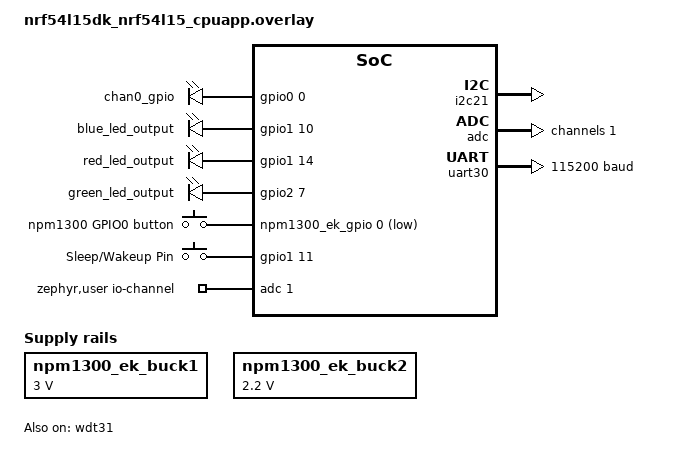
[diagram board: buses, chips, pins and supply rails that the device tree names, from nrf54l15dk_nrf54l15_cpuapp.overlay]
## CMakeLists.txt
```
# SPDX-License-Identifier: Apache-2.0

cmake_minimum_required(VERSION 3.20.0)

list(APPEND BOARD_ROOT ${CMAKE_CURRENT_SOURCE_DIR})

set(SHIELD npm1300_ek)

find_package(Zephyr REQUIRED HINTS $ENV{ZEPHYR_BASE})
project(adc_dt_1)


target_include_directories(app PRIVATE
    ${CMAKE_CURRENT_SOURCE_DIR}/src
    ${CMAKE_CURRENT_SOURCE_DIR}/src/drivers/bma580
    ${CMAKE_CURRENT_SOURCE_DIR}/src/drivers/as7058
    ${CMAKE_CURRENT_SOURCE_DIR}/src/drivers/npm1300
    ${CMAKE_CURRENT_SOURCE_DIR}/src/algo
    ${CMAKE_CURRENT_SOURCE_DIR}/src/ble

)

file(GLOB_RECURSE app_sources
    src/*.c
)

target_sources(app PRIVATE ${app_sources})


# If you also have headers:
# set_target_properties(mylib PROPERTIES INTERFACE_INCLUDE_DIRECTORIES
#     ${CMAKE_CURRENT_SOURCE_DIR}/include
# )
```

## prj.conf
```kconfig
# Needed for math.h
CONFIG_NEWLIB_LIBC=y
CONFIG_CBPRINTF_FP_SUPPORT=y
CONFIG_MULTITHREADING=y

# Enable Logging system
CONFIG_LOG=y
CONFIG_UART_CONSOLE=y
CONFIG_USE_SEGGER_RTT=y
CONFIG_RTT_CONSOLE=y
CONFIG_LOG_BACKEND_RTT=y

# Enable GPIO/PWM
CONFIG_PWM=y
CONFIG_NRFX_TIMER21=y
CONFIG_NRFX_PWM20=y
CONFIG_NRFX_PWM21=y


# Enable FPU on Cortex-M with single-precision (typical M4F/M33F)
# Enable the MCU FPU and context switching for threads that use it
CONFIG_FPU=y
CONFIG_FPU_SHARING=y          # allow any thread to use FP safely
CONFIG_FP_HARDABI=y  
# Give the system workqueue more room (our handler runs here)
CONFIG_SYSTEM_WORKQUEUE_STACK_SIZE=8196

CONFIG_ISR_STACK_SIZE=3072

# Idle stack size
CONFIG_IDLE_STACK_SIZE=512

# Enable CTS client
CONFIG_BT_CTS_CLIENT=y

#Enable BLE
CONFIG_BT=y
CONFIG_BT_PERIPHERAL=y
CONFIG_BT_DEVICE_NAME="InnerGize Gen 1"
# Enable Security Management Protocol
CONFIG_BT_SMP=y

# Enable the BMS service
CONFIG_BT_BMS=y

# Enable bonding
CONFIG_BT_SETTINGS=y
CONFIG_FLASH=y
CONFIG_FLASH_PAGE_LAYOUT=y
CONFIG_FLASH_MAP=y
CONFIG_NVS=y
CONFIG_SETTINGS_NVS=y
CONFIG_NVS_LOG_LEVEL_DBG=y
CONFIG_MPU_ALLOW_FLASH_WRITE=y

CONFIG_SETTINGS=y
CONFIG_NRFX_TEMP=y
CONFIG_MPU_ALLOW_FLASH_WRITE=y

CONFIG_BT_DIS=y

# STEP 3.1 Enable support for Accept List filter and Privacy Features
CONFIG_BT_FILTER_ACCEPT_LIST=y
CONFIG_BT_PRIVACY=y


CONFIG_BT=y
CONFIG_BT_PERIPHERAL=y
CONFIG_BT_PERIPHERAL_PREF_MIN_INT=6
CONFIG_BT_PERIPHERAL_PREF_MAX_INT=6
CONFIG_BT_PERIPHERAL_PREF_LATENCY=99
CONFIG_BT_PERIPHERAL_PREF_TIMEOUT=400
CONFIG_BT_GAP_AUTO_UPDATE_CONN_PARAMS=y
# Appear as a Generic Human Interface Device
CONFIG_BT_DEVICE_APPEARANCE=960

CONFIG_BT_ADV_PROV=y
CONFIG_BT_ADV_PROV_FLAGS=y
CONFIG_BT_ADV_PROV_TX_POWER=y
CONFIG_BT_ADV_PROV_FAST_PAIR=y

CONFIG_BT_ADV_PROV_DEVICE_NAME=y
CONFIG_BT_ADV_PROV_DEVICE_NAME_SD=y
CONFIG_BT_ADV_PROV_GAP_APPEARANCE=y
CONFIG_BT_ADV_PROV_GAP_APPEARANCE_SD=y

# Align the advertised TX power with Fast Pair expectations.
# The value has been tailored for following DKs:
#   * nrf52dk/nrf52832
#   * nrf52833dk/nrf52833
#   * nrf52840dk/nrf52840
#   * nrf5340dk/nrf5340/cpuapp(/ns)
#   * nrf54h20dk/nrf54h20/cpuapp
CONFIG_BT_ADV_PROV_TX_POWER_CORRECTION_VAL=-15

# Disable automatic initiation of PHY updates.
# Workaround to prevent disconnection with reason 42 (BT_HCI_ERR_DIFF_TRANS_COLLISION).
# Some Android phones reply to the LL_PHY_REQ and at the same time initiate a connection
# update which triggers an invalid procedure collision.
CONFIG_BT_AUTO_PHY_UPDATE=n
CONFIG_BT_USER_PHY_UPDATE=y

CONFIG_BT_ID_MAX=1
CONFIG_BT_MAX_CONN=1
CONFIG_BT_MAX_PAIRED=8

CONFIG_BT_SMP=y
CONFIG_BT_PRIVACY=y
CONFIG_BT_RPA_TIMEOUT=960
CONFIG_BT_FAST_PAIR=y
CONFIG_BT_FAST_PAIR_USE_CASE_INPUT_DEVICE=y
CONFIG_BT_FAST_PAIR_BN=y

CONFIG_LOG=y
CONFIG_BT_FAST_PAIR_LOG_LEVEL_DBG=y

CONFIG_BT_HIDS=y
CONFIG_BT_HIDS_DEFAULT_PERM_RW_ENCRYPT=y
CONFIG_BT_CONN_CTX=y

# Enable BAS to comply with HID over GATT profile
CONFIG_BT_BAS=y

CONFIG_BT_GATT_CLIENT=y




# Fill DIS characteristic to comply with HID over GATT profile
CONFIG_BT_DIS_MANUF_NAME=y
CONFIG_BT_DIS_MANUF_NAME_STR="NordicSemiconductor"
CONFIG_BT_DIS_PNP=y
CONFIG_BT_DIS_PNP_VID_SRC=2
CONFIG_BT_DIS_PNP_VID=0x1915
CONFIG_BT_DIS_PNP_PID=0xEEED

#RSSI POWER CHANGE 

CONFIG_BT_CTLR_ADVANCED_FEATURES=y
CONFIG_BT_CTLR_CONN_RSSI=y
CONFIG_BT_CTLR_TX_PWR_DYNAMIC_CONTROL=y



# to use internal 32 kHz crystal
CONFIG_CLOCK_CONTROL_NRF_K32SRC_RC=y
CONFIG_CLOCK_CONTROL_NRF_K32SRC_500PPM=y
CONFIG_CLOCK_CONTROL_NRF_K32SRC_RC_CALIBRATION=y
CONFIG_CLOCK_CONTROL_NRF_CALIBRATION_LF_ALWAYS_ON=y


# STEP 2.1 Enable support for Energy Monitoring and Power Management
CONFIG_PM_DEVICE=y
CONFIG_GPIO=y
CONFIG_CRC=y
CONFIG_POWEROFF=y
CONFIG_HWINFO=y

#ADC 
CONFIG_ADC=y
CONFIG_NRFX_SAADC=y

# Enable the WDT module
CONFIG_WDT_LOG_LEVEL_DBG=y
CONFIG_WATCHDOG=y
CONFIG_WDT_DISABLE_AT_BOOT=n

CONFIG_BT_CTLR_TX_PWR_PLUS_8=y




# Enable MCUmgr and dependencies.

CONFIG_STREAM_FLASH=y
CONFIG_FLASH_MAP=y

# Some command handlers require a large stack.
CONFIG_SYSTEM_WORKQUEUE_STACK_SIZE=2304
CONFIG_MAIN_STACK_SIZE=2048
CONFIG_BT_RX_STACK_SIZE=2048




# Required by the `taskstat` command.
CONFIG_THREAD_MONITOR=y

# Support for taskstat command



# Enable statistics and statistic names.
CONFIG_STATS=y
CONFIG_STATS_NAMES=y

# Enable most core commands.
CONFIG_FLASH=y




# Allow for large Bluetooth data packets.
CONFIG_BT_USER_DATA_LEN_UPDATE=y
CONFIG_BT_L2CAP_TX_MTU=498
CONFIG_BT_BUF_ACL_RX_SIZE=502
CONFIG_BT_BUF_ACL_TX_SIZE=502
CONFIG_BT_CTLR_DATA_LENGTH_MAX=251


# Enable the Shell mcumgr transport.
CONFIG_BASE64=y
CONFIG_SHELL=y
CONFIG_SHELL_BACKEND_SERIAL=y
CONFIG_MCUMGR_TRANSPORT_SHELL=y
CONFIG_MCUMGR_TRANSPORT_SHELL_RX_BUF_COUNT=8



# Disable Bluetooth ping support
CONFIG_BT_CTLR_LE_PING=n

# Disable shell commands that are not needed
CONFIG_CLOCK_CONTROL_NRF_SHELL=n
CONFIG_DEVICE_SHELL=n
CONFIG_DEVMEM_SHELL=n
CONFIG_FLASH_SHELL=n




CONFIG_NRFX_GRTC=y



CONFIG_SHELL=y
CONFIG_LOG=y
CONFIG_LED=y
CONFIG_GPIO=y
CONFIG_REGULATOR=y
CONFIG_SENSOR=y
CONFIG_I2C_SHELL=y
CONFIG_LOG_CMDS=y
CONFIG_NRF_FUEL_GAUGE=y
CONFIG_NRF_FUEL_GAUGE_VARIANT_SECONDARY_CELL=y
CONFIG_REQUIRES_FLOAT_PRINTF=y


# Enable POSIX API support
CONFIG_POSIX_API=y

# Enable POSIX clock functions (like clock_gettime)
CONFIG_POSIX_CLOCK=y

# Enable the counter API
CONFIG_COUNTER=y

CONFIG_HEAP_MEM_POOL_SIZE=2048
```

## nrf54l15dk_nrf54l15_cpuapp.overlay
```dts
/*
 * Copyright (c) 2024 Nordic Semiconductor ASA
 *
 * SPDX-License-Identifier: LicenseRef-Nordic-5-Clause
 */

#include <dt-bindings/regulator/npm1300.h>



&i2c21 {
	status = "okay";
};


&npm1300_ek_pmic {
	host-int-gpios = <&gpio1 6 0>;
	pmic-int-pin = <1>;
};

&npm1300_ek_gpio {
	status = "okay";
};


&npm1300_ek_charger {
			compatible = "nordic,npm1300-charger";
			term-microvolt = <4200000>; 
			term-warm-microvolt = <4000000>;
			current-microamp = <150000>;
			dischg-limit-microamp = <1000000>;
			vbus-limit-microamp = <500000>;
			/* Disable battery NTC */
	        thermistor-ohms = <10000>;
			thermistor-beta = <3380>;
			charging-enable;
		};


		/* Turn ON nPM1300 BUCK1 and BUCK2 on the EK */

&npm1300_ek_buck1 {
	/* Set to your required rail; example: 1.8 V */
	regulator-min-microvolt = <3000000>;
	regulator-max-microvolt = <3000000>;

	/* Make sure it’s on at boot (and kept on) */
	regulator-boot-on;
	regulator-always-on;
	/* Enable forced PWM mode */
	regulator-allowed-modes = <NPM1300_BUCK_MODE_PWM>;
	regulator-initial-mode = <NPM1300_BUCK_MODE_PWM>;
	status = "okay";
};

&npm1300_ek_buck2 {
	/* Set to your required rail; example: 3.3 V */
	regulator-min-microvolt = <2200000>;
	regulator-max-microvolt = <2200000>;

	/* Make sure it's on at boot (and kept on) */
	regulator-boot-on;
	regulator-always-on;
	/* Enable forced PWM mode */
	regulator-allowed-modes = <NPM1300_BUCK_MODE_PWM>;
	regulator-initial-mode = <NPM1300_BUCK_MODE_PWM>;
	status = "okay";
};

/* Configure LDO1 in Load Switch mode */
&npm1300_ek_ldo1 {
	regulator-allowed-modes = <NPM1300_LDSW_MODE_LDSW>;
	regulator-initial-mode = <NPM1300_LDSW_MODE_LDSW>;
	regulator-boot-on;
	status = "okay";
};

/* Configure LDO2 in Load Switch mode */
&npm1300_ek_ldo2 {
	regulator-allowed-modes = <NPM1300_LDSW_MODE_LDSW>;
	regulator-initial-mode = <NPM1300_LDSW_MODE_LDSW>;
	regulator-boot-on;
	status = "okay";
};

/*
 * SPDX-License-Identifier: Apache-2.0
 *
 * Copyright (c) 2024 Nordic Semiconductor ASA
 */

/{
    gpio_outputs{
        compatible = "gpio-leds";
        // Channel 0 GPIO pin
        chan0_gpio: chan0_gpio{
            gpios = < &gpio0 0 GPIO_ACTIVE_HIGH >;
        };
        blue_led_output: blue_led_output{
            gpios = <&gpio1 10 GPIO_PULL_DOWN>;
        };
        red_led_output: red_led_output{
            gpios = <&gpio1 14 GPIO_PULL_DOWN>;
        };
        green_led_output: green_led_output{
            gpios = < &gpio2 7 GPIO_ACTIVE_HIGH >;
        };
    };

    buttons{
        compatible = "gpio-keys";
        button0: button_0 {
			gpios = <&npm1300_ek_gpio 0 (GPIO_PULL_UP | GPIO_ACTIVE_LOW)>;
			label = "npm1300 GPIO0 button";
		};
        button1: button_1 {
			gpios = <&gpio1 11 (GPIO_PULL_UP | GPIO_ACTIVE_HIGH)>;
			label = "Sleep/Wakeup Pin";
		};
    };
    

    zephyr,user {
		io-channels = <&adc 1>; // Channel 1
	};

    aliases{
        ems-chan0-gpio = &chan0_gpio;
        blue-led = &blue_led_output;
        red-led = &red_led_output;
        green-led = &blue_led_output;
        on-button = &button0;
        sleep-wakeup-button = &button1;
    };
};

&adc {
	#address-cells = <1>;
	#size-cells = <0>;

	channel@1 {
		reg = <1>;
		zephyr,gain = "ADC_GAIN_1_4";
		zephyr,reference = "ADC_REF_INTERNAL";
		zephyr,acquisition-time = <ADC_ACQ_TIME(ADC_ACQ_TIME_MICROSECONDS,40)>;
		zephyr,input-positive = <NRF_SAADC_AIN1>; /* P1.06 */
		zephyr,resolution = <12>;
		zephyr,oversampling = <8>;
	};
};

&wdt31 {
	status = "okay";
};

      &grtc {
        pinctrl-0 = <&grtc_default>;
        pinctrl-1 = <&grtc_sleep>;
        pinctrl-names = "default", "sleep";
        clkout-fast-frequency = <8000000>;
        clkout-32k;
        /* In case of nRF54H20 devices: */
        nordic,clockpin-enable = <NRF_FUN_GRTC_CLKOUT_FAST>;
      };

/* Switch from UART20 to UART30 */
&uart20 {
	status = "disabled";
};

&uart30 {
	status = "okay";
	current-speed = <115200>;
};

/ {
	chosen {
		zephyr,console = &uart30;
		zephyr,shell-uart = &uart30;
		zephyr,uart-mcumgr = &uart30;
		zephyr,bt-mon-uart = &uart30;
		zephyr,bt-c2h-uart = &uart30;
	};
};
```

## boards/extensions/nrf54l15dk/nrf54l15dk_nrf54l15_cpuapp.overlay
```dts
/*
 * Copyright (c) 2024 Nordic Semiconductor ASA
 *
 * SPDX-License-Identifier: LicenseRef-Nordic-5-Clause
 */

// &pinctrl {
// 	sqspi_default: sqspi_default {
// 		group1 {
// 			psels = <NRF_PSEL(SDP_MSPI_SCK, 2, 1)>,
// 				<NRF_PSEL(SDP_MSPI_CS0, 2, 5)>,
// 				<NRF_PSEL(SDP_MSPI_DQ0, 2, 2)>;
// 			nordic,drive-mode = <NRF_DRIVE_E0E1>;
// 		};
// 		group2 {
// 			psels = <NRF_PSEL(SDP_MSPI_DQ1, 2, 4)>,
// 				<NRF_PSEL(SDP_MSPI_DQ2, 2, 3)>,
// 				<NRF_PSEL(SDP_MSPI_DQ3, 2, 0)>;
// 			nordic,drive-mode = <NRF_DRIVE_E0E1>;
// 			bias-pull-up;
// 		};
// 	};

// 	sqspi_sleep: sqspi_sleep {
// 		group1 {
// 			low-power-enable;
// 			psels = <NRF_PSEL(SDP_MSPI_SCK, 2, 1)>,
// 				<NRF_PSEL(SDP_MSPI_CS0, 2, 5)>,
// 				<NRF_PSEL(SDP_MSPI_DQ0, 2, 2)>,
// 				<NRF_PSEL(SDP_MSPI_DQ1, 2, 4)>,
// 				<NRF_PSEL(SDP_MSPI_DQ2, 2, 3)>,
// 				<NRF_PSEL(SDP_MSPI_DQ3, 2, 0)>;
// 		};
// 	};
// };

// &cpuflpr_vpr {
// 	pinctrl-0 = <&sqspi_default>;
// 	pinctrl-1 = <&sqspi_sleep>;
// 	pinctrl-names = "default", "sleep";
// 	interrupts = <76 NRF_DEFAULT_IRQ_PRIORITY>;
// 	status = "okay";
// };

// / {
// 	reserved-memory {
// 		#address-cells = <1>;
// 		#size-cells = <1>;
// 		ranges;

// 		softperipheral_ram: memory@2003c000 {
// 			reg = <0x2003c000 0x4000>;
// 			ranges = <0 0x2003c000 0x4000>;
// 			#address-cells = <1>;
// 			#size-cells = <1>;

// 			sqspi: sqspi@3c00 {
// 				compatible = "nordic,nrf-sqspi";
// 				#address-cells = <1>;
// 				#size-cells = <0>;
// 				reg = <0x3c00 0x200>;
// 				status = "okay";
// 				zephyr,pm-device-runtime-auto;
// 			};
// 		};
// 	};
// };

// /delete-node/ &mx25r64;

// &sqspi {
// 	mx25r64: mx25r6435f@0 {
// 		compatible = "mxicy,mx25r", "jedec,mspi-nor";
// 		status = "okay";
// 		reg = <0>;
// 		jedec-id = [c2 28 17];
// 		quad-enable-requirements = "S1B6";
// 		sfdp-bfp = [
// 			e5 20 f1 ff  ff ff ff 03  44 eb 08 6b  08 3b 04 bb
// 			ee ff ff ff  ff ff 00 ff  ff ff 00 ff  0c 20 0f 52
// 			10 d8 00 ff  23 72 f5 00  82 ed 04 cc  44 83 68 44
// 			30 b0 30 b0  f7 c4 d5 5c  00 be 29 ff  f0 d0 ff ff
// 		];
// 		size = <67108864>;
// 		has-dpd;
// 		t-enter-dpd = <10000>;
// 		t-exit-dpd = <35000>;
// 		t-reset-pulse = <10000>;
// 		t-reset-recovery = <35000>;

// 		mspi-max-frequency = <DT_FREQ_M(8)>;
// 		mspi-io-mode = "MSPI_IO_MODE_QUAD_1_4_4";
// 		mspi-data-rate = "MSPI_DATA_RATE_SINGLE";
// 		mspi-hardware-ce-num = <1>;
// 		mspi-cpp-mode = "MSPI_CPP_MODE_0";
// 		mspi-endian = "MSPI_BIG_ENDIAN";
// 		mspi-ce-polarity = "MSPI_CE_ACTIVE_LOW";
// 	};
// };





/* Define arduino_i2c here so it is available for the shield overlay */
arduino_i2c: &i2c21 {
	compatible = "nordic,nrf-twim";
	
};

&i2c21 {
    status = "okay";
    pinctrl-0 = <&i2c21_default>;
    pinctrl-1 = <&i2c21_sleep>;
    pinctrl-names = "default", "sleep";

	bma580@18 {
        compatible = "bosch,bma580";
        reg = <0x18>;
        int-gpios = <&gpio1 8 GPIO_ACTIVE_HIGH>;
    };
};


&pinctrl {
	/omit-if-no-ref/ i2c21_default: i2c21_default {
		group1 {
			psels = <NRF_PSEL(TWIM_SCL, 1, 9)>,
				    <NRF_PSEL(TWIM_SDA, 1, 12)>;
		};
	};
    /omit-if-no-ref/ i2c21_sleep: i2c21_sleep {
		group1 {
			psels = <NRF_PSEL(TWIM_SCL, 1, 9)>,
				    <NRF_PSEL(TWIM_SDA, 1, 12)>;
		};
	};
};



/* App-owned properties you can read from code */
 / {
	zephyr,user {
		/* IRQ on P0.09, active-low, with internal pull-up */
		my_sensor_int_gpios = <&gpio1 10 (GPIO_ACTIVE_LOW | GPIO_PULL_UP)>;
	};
};
```

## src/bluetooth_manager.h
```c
#ifndef BLE_H
#define BLE_H

#include <stdint.h>
#include <stdbool.h>
#include <sys/types.h>
#include "core_types.h"

/* Forward declarations */
struct device;

#define BLE_MSG_ID_CONNECTED                0x01
#define BLE_MSG_ID_DISCONNECTED             0x02
#define BLE_MSG_ID_REINIT                   0x03
#define BLE_MSG_ID_DEINIT                   0x04

#define BLE_MSG_ID_EMS_CONTROL              0x20
#define BLE_MSG_ID_EMS_SESSION              0x21
#define BLE_MSG_ID_EMS_MODE                 0x22
#define BLE_MSG_ID_EMS_CHAN1_CONTROL        0x23
#define BLE_MSG_ID_EMS_CHAN2_CONTROL        0x24
#define BLE_MSG_ID_EMS_CHAN3_CONTROL        0x25
#define BLE_MSG_ID_EMS_CHAN4_CONTROL        0x26
#define BLE_MSG_ID_EMS_INTENSITY            0x27

#define BLE_MSG_ID_CHAN0_PLAYBACK_COUNT     0x28
#define BLE_MSG_ID_CHAN0_INUCT_DURATION     0x29
#define BLE_MSG_ID_CHAN0_ON_DURATION        0x30
#define BLE_MSG_ID_CHAN0_DURATION           0x31

#define BLE_MSG_ID_PWM_PERIOD               0x33
#define BLE_MSG_ID_PWM_ONTIME               0x34
#define BLE_MSG_ID_PWM_INTERVAL             0x35
#define BLE_MSG_ID_PWM_DURATION             0x36
#define BLE_MSG_ID_CHAN23_PWM_PERIOD_NS     0x37
#define BLE_MSG_ID_CHAN23_PWM_ON_TIME_NS    0x38

#define BLE_MSG_ID_CHARGER_ON_OFF           0x39
#define BLE_MSG_ID_BATT_UPDATE              0x40

#define BLE_MSG_ID_CHARGER_BATT_UPDATE      0x41

#define BLE_MSG_ID_FUEL_GAUGE_UPDATE        0x42

// Power mode definitions
typedef enum {
    BLE_POWER_MODE_SLEEP = 0,         // Lowest power consumption
    BLE_POWER_MODE_AVERAGE = 1,       // Balanced power consumption
    BLE_POWER_MODE_HIGH_POWER = 2     // Maximum performance, highest power
} ble_power_mode_t;

extern uint8_t disconnect_reason;

int ble_adv_start();

void ble_new_adv();

void prepare_for_sleep(void);

extern bool pairing_on;

void bt_adv_restart_init(void);

// Power mode control functions
int ble_set_power_mode(ble_power_mode_t mode);
ble_power_mode_t ble_get_power_mode(void);

// Flash data service API functions
void ble_flash_set_params(const struct device *flash_device, off_t offset, size_t sample_count);
const struct device *ble_flash_get_device(void);
bool ble_flash_get_params(off_t *offset, size_t *sample_count);

// Fuel gauge data structure
struct fuel_gauge_data {
    float soc;           // State of Charge (percentage 0.0-100.0)
    float tte;           // Time To Empty (seconds)
    float ttf;           // Time To Full (seconds)
    uint8_t chg_status;  // Charging status: 0=Idle, 1=Complete, 2=Trickle, 3=CC, 4=CV
};

// Structure to store the ble ems data
struct ble_msg{
    uint8_t id;
    union{
        struct ems_def ems;
        int32_t batt_mv;
        uint8_t  charger_batt_mv;
        struct fuel_gauge_data fuel_gauge;
    }data;
};

#endif
```

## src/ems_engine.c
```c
#include "ems_engine.h"
#include "startup.h"
#include "io_adapter.h"

#include <zephyr/kernel.h>
#include <zephyr/drivers/pwm.h>
#include <nrfx_timer.h>
#include <nrfx_pwm.h>
#include <hal/nrf_gpio.h>
#include <string.h>
#include <zephyr/logging/log.h>
#include <hal/nrf_timer.h>


LOG_MODULE_REGISTER(EMS_PWM, LOG_LEVEL_INF);

ems_values ems_intensity_data = {
    .PWM_PERIOD = 64,
    .PWM_ON_TIME = 45,
    .PWM_INTERVAL = 10,
    .PWM_DURATION = 5,
    .CHAN0_PLAYBACK = 3,
    .CHAN0_INDUCTOR = 3,
    .PWM23_DURATION = 1000,
    .PWM23_ON_DURATION = 900,
};

// {64, 40, 5, 12, 11, 11}; // Default values for the EMS

/* 502 = 64
 503 = 20
 504 = 5
 505 = 12
 506 =11
 507 =11
 for 3 seconds 
 508 =  seconds total (6)
 509 = on duration (120)
 for 5
 508 = 10
 509= 200

sint32 little
*/

#define CHAN0_GPIO_PIN                          DT_GPIO_PIN(DT_ALIAS(ems_chan0_gpio), gpios)
#define CHAN0_DEFAULT_ON_TIME                   (PWM_MSEC(500))
#define CHAN0_DEFAULT_PERIOD                    (PWM_SEC(2))

#if (CONFIG_BOARD_EMS_NRF52840)
#define CHAN1_PWM_GPIO_PIN                      4
#else 
#define CHAN1_PWM_GPIO_PIN                      44
#endif

#define CHAN1_PWM_INST                          NRFX_PWM_INSTANCE(20)
#define CHAN1_PWM_PERIOD_NS                     PWM_USEC(64)
#define CHAN1_PWM_DEFAULT_ON_TIME_NS            PWM_USEC(20)
#define POWER_SIGNAL_DEFAULT_INTERVAL_NS        PWM_MSEC(20)
#define POWER_SIGNAL_DEFAULT_DURATION_NS        PWM_MSEC(40)

#if (CONFIG_BOARD_EMS_NRF52840)
#define CHAN2_PWM_GPIO_PIN                      27
#else
#define CHAN2_PWM_GPIO_PIN                      43
#endif

#if (CONFIG_BOARD_EMS_NRF52840)
#define CHAN3_PWM_GPIO_PIN                      26
#else
#define CHAN3_PWM_GPIO_PIN                      39
#endif

#define CHAN23_PWM_INST                         NRFX_PWM_INSTANCE(21)

#define CHAN23_DEFAULT_DURATION_NS              PWM_MSEC(100)

#define TIMER_INSTANCE_NUMBER 21

K_MUTEX_DEFINE(update_mut);

// Parameters for a generic EMS pwm channel
struct pwm_mode_chan_spec {
    uint64_t active_duration_ns; // Time the signal is on
    uint64_t interval_ns; // Time between consecutive signals
    uint64_t pwm_on_time_ns;
    int8_t status; // 1/0 (on/off)
};

// Timer for channel 0
const nrfx_timer_t pwm_modes_timer = NRFX_TIMER_INSTANCE(TIMER_INSTANCE_NUMBER);

// Channel 1 PWM instance
const nrfx_pwm_t chan1_pwm_inst = CHAN1_PWM_INST;
nrf_pwm_values_common_t chan1_seq_common_values = 0;
nrf_pwm_values_t chan1_seq_values = {.p_common = &chan1_seq_common_values};
nrf_pwm_sequence_t chan1_sequence = {
    .length = 1,
    .repeats = 0,
    .end_delay = 0
};

// Channels 2 and 3 PWM instance (channel 2 and 3 are independent channels on the PWM instance)
const nrfx_pwm_t chan23_pwm_inst = CHAN23_PWM_INST;
nrf_pwm_values_individual_t chan23_pwm_seq_ind_values ;

nrf_pwm_values_t chan23_values = {.p_individual = &chan23_pwm_seq_ind_values};
nrf_pwm_sequence_t chan23_sequence = {
    .length = 4,
    .repeats = 0,
    .end_delay = 0
};

struct pwm_mode_chan_spec chan0_spec = {
    .active_duration_ns = (CHAN0_DEFAULT_PERIOD - CHAN0_DEFAULT_ON_TIME),
    .interval_ns = (CHAN0_DEFAULT_ON_TIME),
    .status = 0
};

struct pwm_mode_chan_spec chan1_spec = {
    .active_duration_ns = POWER_SIGNAL_DEFAULT_DURATION_NS,
    .interval_ns = POWER_SIGNAL_DEFAULT_INTERVAL_NS,
    .pwm_on_time_ns = CHAN1_PWM_DEFAULT_ON_TIME_NS,
    .status = 0
};

struct pwm_mode_chan_spec chan2_spec = {
    .active_duration_ns = CHAN23_DEFAULT_DURATION_NS,
    .status = 0
};

struct pwm_mode_chan_spec chan3_spec = {
    .active_duration_ns = CHAN23_DEFAULT_DURATION_NS,
    .status = 0
};

struct pwm_mode_chan_spec update_buf[] = {
    {0}, // Channel 0
    {0}, // Channel 1
    {0}, // Channel 2
    {0}  // Channel 3
};

uint32_t chan0_counter = 0; // Timer counter for channel 0
uint32_t chan1_counter_on = 0, chan1_counter_off = 0; // counter_on -> timer counter when chan1 is active, counter_off -> counter when chan1 is inactive
uint16_t power_signal_count = 3, power_signal_counter = 0; // power_signal_count -> number of chan1 signals to trigger, signal_counter -> counts number of signals triggered, Default is 3
uint8_t active_stimulating_chan = 2; // Channel to toggle the stimulating signal on (2 or 3)
uint8_t chan_param_update_available = 0; // Flag set when channel parameters have been updated but not triggered
bool is_pwm_modes_enabled = false; // Flag set when EMS is enabled, default false
bool battery_update_ready = false;

// Initialise channel 0
static void chan0_gpio_init() {
    LOG_INF("Config channel 0 pin");

    nrf_gpio_cfg_output(CHAN0_GPIO_PIN);
    nrf_gpio_pin_clear(CHAN0_GPIO_PIN);
}

void chan0_para_update()
{
    chan0_spec.active_duration_ns = PWM_SEC(ems_intensity_data.CHAN0_DURATION) - (25*PWM_MSEC(ems_intensity_data.CHAN0_ON_DURATION));
    chan0_spec.interval_ns = 25*PWM_MSEC(ems_intensity_data.CHAN0_ON_DURATION);
}


// Update the power signal count
static void update_power_signal_count() {
    power_signal_count = chan0_spec.active_duration_ns / (PWM_MSEC(ems_intensity_data.PWM_DURATION) + PWM_MSEC(ems_intensity_data.PWM_INTERVAL));
}

// Event handler for channel 1 PWM 
static void chan1_pwm_event_handler(nrfx_pwm_evt_type_t event_type, void *p_context) {
    if (event_type == NRFX_PWM_EVT_STOPPED) {
        chan1_spec.status = 0;
    }
}

// Initialise channel 1
static int chan1_pwm_init() {
    nrfx_err_t ret = 0;
    nrfx_pwm_config_t chan1_pwm_conf = NRFX_PWM_DEFAULT_CONFIG(CHAN1_PWM_GPIO_PIN, 
                                        NRF_PWM_PIN_NOT_CONNECTED, 
                                        NRF_PWM_PIN_NOT_CONNECTED, 
                                        NRF_PWM_PIN_NOT_CONNECTED);

    chan1_pwm_conf.top_value = (PWM_USEC(ems_intensity_data.PWM_PERIOD) / NSEC_PER_USEC); // At 1 MHz top val will be the usec value

    nrfx_pwm_uninit(&chan1_pwm_inst); // Uninit to initialise with new custom values

    ret = nrfx_pwm_init(&chan1_pwm_inst, &chan1_pwm_conf, chan1_pwm_event_handler, NULL);

    if (ret == NRFX_SUCCESS) {
        IRQ_DIRECT_CONNECT(PWM20_IRQn, 0, nrfx_pwm_20_irq_handler, 0);
        irq_enable(PWM20_IRQn);
        return 0;
    }

    LOG_ERR("Chan1 pwm init fail (err 0x%08x)", ret);
    return -ENODEV;
}

// Update the on time of the PWM signal
static int chan1_pwm_update_on_time(uint32_t on_time_ns) { 
    if (on_time_ns > 0) {
        chan1_seq_common_values = ((PWM_USEC(ems_intensity_data.PWM_PERIOD) - PWM_USEC(ems_intensity_data.PWM_ON_TIME)) / NSEC_PER_USEC);
        chan1_seq_values.p_common = &chan1_seq_common_values;
        chan1_sequence.values = chan1_seq_values;
    } else {   
        nrfx_pwm_stop(&chan1_pwm_inst, false);
        return 0;     
    }

    uint16_t playback_count = (PWM_MSEC(ems_intensity_data.PWM_DURATION) / PWM_USEC(ems_intensity_data.PWM_PERIOD));

    //LOG_DBG("Chan1 playback count %d", playback_count);
    
    // If the playback is successful, set the status to 1
    if (nrfx_pwm_simple_playback(&chan1_pwm_inst, &chan1_sequence, playback_count, NRFX_PWM_FLAG_STOP) == 0) {
        chan1_spec.status = 1;
        return 0;
    }

    LOG_ERR("Start PWM playback fail");
    return -EIO;
}

// Toggle the power signal
static void chan1_toggle_power_signal() {
    update_power_signal_count();

    if (power_signal_counter >= power_signal_count) {
        return;
    } else if (chan1_spec.status == 0) {
        chan1_pwm_update_on_time(PWM_USEC(ems_intensity_data.PWM_ON_TIME));
        power_signal_counter++;
    }
}

// Event handler for channel 2 and 3 PWM
static void chan23_pwm_event_handler(nrfx_pwm_evt_type_t event_type, void *p_context) {   
    if (event_type == NRFX_PWM_EVT_STOPPED) {
        active_stimulating_chan = (active_stimulating_chan == 2) ? 3 : 2;
    }
}

// Toggle the channel 2 and 3 PWM signals 
static int chan23_toggle() {
    if (active_stimulating_chan == 2) {
        chan23_pwm_seq_ind_values.channel_0 = chan2_spec.pwm_on_time_ns / NSEC_PER_USEC;
        chan23_pwm_seq_ind_values.channel_1 = PWM_USEC(ems_intensity_data.PWM23_DURATION) / NSEC_PER_USEC;
        chan23_values.p_individual = &chan23_pwm_seq_ind_values;
        chan23_sequence.values = chan23_values;
        
    } else {
        chan23_pwm_seq_ind_values.channel_0 = PWM_USEC(ems_intensity_data.PWM23_DURATION) / NSEC_PER_USEC;
        chan23_pwm_seq_ind_values.channel_1 = chan3_spec.pwm_on_time_ns / NSEC_PER_USEC;
        chan23_values.p_individual = &chan23_pwm_seq_ind_values;
        chan23_sequence.values = chan23_values;
        
    }

    uint16_t playback_count = ems_intensity_data.CHAN0_PLAYBACK;

    if (nrfx_pwm_simple_playback(&chan23_pwm_inst, &chan23_sequence, playback_count, NRFX_PWM_FLAG_STOP) == 0) {
        if (active_stimulating_chan == 2) {
            chan2_spec.status = 1;
        } else {
            chan3_spec.status = 1;
        }
        return 0;
    }
    return -EIO;
}

// Initialise channel 2 and 3 PWM
static int chan23_pwm_init() {

    chan2_spec.pwm_on_time_ns = PWM_USEC(ems_intensity_data.PWM23_ON_DURATION);
    chan3_spec.pwm_on_time_ns = PWM_USEC(ems_intensity_data.PWM23_ON_DURATION);

    nrfx_err_t err = NRFX_SUCCESS;
    
    nrfx_pwm_config_t chan23_conf = NRFX_PWM_DEFAULT_CONFIG(CHAN2_PWM_GPIO_PIN, CHAN3_PWM_GPIO_PIN, 
                                                            NRF_PWM_PIN_NOT_CONNECTED, NRF_PWM_PIN_NOT_CONNECTED);
                                                            
    chan23_conf.top_value = PWM_USEC(ems_intensity_data.PWM23_DURATION) / NSEC_PER_USEC;

    chan23_conf.load_mode = NRF_PWM_LOAD_INDIVIDUAL;

    chan23_sequence.values = chan23_values;

    nrfx_pwm_uninit(&chan23_pwm_inst);

    err = nrfx_pwm_init(&chan23_pwm_inst, &chan23_conf, chan23_pwm_event_handler, &active_stimulating_chan);


    if (err == NRFX_SUCCESS) {
        IRQ_DIRECT_CONNECT(PWM21_IRQn, 0, nrfx_pwm_21_irq_handler, 0);
        irq_enable(PWM21_IRQn);
       //LOG_INF("WORK DOEN BAHIJAAN");
        return 0;
    }

    LOG_ERR("PWM channels 2, 3 init fail (err %08x)", err);
    return -EIO;
}

// Update the channel parameters like on time, duration, interval 
static void update_chan_params() {
    if (k_mutex_lock(&update_mut, K_NO_WAIT)) {
        return;
    }

    if (chan_param_update_available & (1 << 0)) {
        chan0_spec.active_duration_ns = update_buf[0].active_duration_ns;
        chan0_spec.interval_ns = update_buf[0].interval_ns;
        chan_param_update_available &= ~(1 << 0);
        LOG_DBG("Chan 0 params updated");
    }

    if (chan_param_update_available & (1 << 1)) {
        chan1_spec.active_duration_ns = update_buf[1].active_duration_ns;
        chan1_spec.interval_ns = update_buf[1].interval_ns;
        chan1_spec.pwm_on_time_ns = update_buf[1].pwm_on_time_ns;
        chan_param_update_available &= ~(1 << 1);
        LOG_DBG("Chan 1 params updated");
    }

    // Update the channel 2 and 3 parameters
    if (chan_param_update_available & (1 << 2)) {
        chan2_spec.pwm_on_time_ns = update_buf[2].pwm_on_time_ns;
    }

    if (chan_param_update_available & (1 << 3)) {
        chan3_spec.pwm_on_time_ns = update_buf[3].pwm_on_time_ns;
    }

    k_mutex_unlock(&update_mut);
}

// Event handler for the PWM modes timer 
static void pwm_modes_timer_event_handler(nrf_timer_event_t event_type, void *p_context) {
    
    if (event_type == NRF_TIMER_EVENT_COMPARE0) {


        chan0_counter++;
        if (chan0_spec.status == 1) { // Inactive period
            // Time has expired
            if (chan0_counter >= (chan0_spec.interval_ns / NSEC_PER_MSEC)) {
                nrf_gpio_pin_clear(CHAN0_GPIO_PIN);
                chan0_spec.status = 0;
                chan0_counter = 0;

                chan1_counter_on = 0; // Reset chan 1 timer
                chan1_counter_off = 0;
                power_signal_counter = 0;
                
                // Update params
                update_chan_params();
                chan1_toggle_power_signal();
            }

        } else if (chan0_spec.status == 0) {
            if (chan1_spec.status == 1) {
                chan1_counter_on++;
                if (((PWM_MSEC(ems_intensity_data.PWM_DURATION) / NSEC_PER_MSEC) - chan1_counter_on) == ems_intensity_data.CHAN0_INDUCTOR) {
                    chan23_toggle();
                } else if (chan1_counter_on >= (PWM_MSEC(ems_intensity_data.PWM_DURATION) / NSEC_PER_MSEC)) {
                    chan1_toggle_power_signal();
                    chan1_counter_off = 0;
                    chan1_counter_on = 0;
                

                    //if (!pwm_stopped_check(&chan23_pwm_inst)) {
                        nrfx_pwm_stop(&chan23_pwm_inst, false);
                    
                }
            } else if (chan1_spec.status == 0) {
                chan1_counter_off++;
                if (chan1_counter_off >= (PWM_MSEC(ems_intensity_data.PWM_INTERVAL) / NSEC_PER_MSEC)) {
                    chan1_toggle_power_signal();
                    chan1_counter_off = 0;
                    chan1_counter_on = 0;
                    
                }
            }

            if (chan0_counter >= (chan0_spec.active_duration_ns / NSEC_PER_MSEC)) {
                nrf_gpio_pin_set(CHAN0_GPIO_PIN);
                chan0_counter = 0;
                chan0_spec.status = 1;

                if (!is_pwm_modes_enabled) {
                    // Disable timer after iteration is complete
                    nrfx_timer_disable(&pwm_modes_timer);
                }
            }
        }
    }
}


// Function to generate 5 simultaneous PWM spikes of 20% duty cycle on CHAN2 and CHAN3
int ems_pwm_generate_simultaneous_spikes_chan23(void) {
    // Define PWM values for 20% duty cycle
    const uint32_t period_ns = PWM_USEC(ems_intensity_data.PWM23_DURATION);
    const uint32_t on_time_ns = period_ns * 80 / 100; // 20% duty cycle

    // Configure both channels for simultaneous operation
    chan23_pwm_seq_ind_values.channel_0 = on_time_ns / NSEC_PER_USEC; // CHAN2 (mapped to channel_0)
    chan23_pwm_seq_ind_values.channel_1 = on_time_ns / NSEC_PER_USEC; // CHAN3 (mapped to channel_1)

    // Set up sequence values for both channels
    chan23_values.p_individual = &chan23_pwm_seq_ind_values;
    chan23_sequence.values = chan23_values;
    chan23_sequence.length = 4;  // Length matches the individual channel configuration
    chan23_sequence.repeats = 0; // No repeats for each value in the sequence

    // Set playback count to 5 for 5 spikes
    uint16_t playback_count = 5;

    // Trigger playback on CHAN23 for both channels
    if (nrfx_pwm_simple_playback(&chan23_pwm_inst, &chan23_sequence, playback_count, NRFX_PWM_FLAG_STOP) == 0) {
        chan2_spec.status = 1; // Update CHAN2 status
        chan3_spec.status = 1; // Update CHAN3 status
      //  LOG_INF("5 simultaneous PWM spikes of 20% duty cycle generated on CHAN23 (CHAN2 and CHAN3)");
        return 0;
    }
    LOG_ERR("Simultaneous PWM spikes generation on CHAN23 failed");
    return -EIO;
}

// Initialise timer

static int pwm_modes_timer_init() {
    LOG_INF("Init PWM modes timer");

 nrfx_err_t err;

    /* STEP 3.3 - Declaring timer config and intialize nrfx_timer instance. */
    nrfx_timer_config_t timer_config = NRFX_TIMER_DEFAULT_CONFIG(500000);
    err = nrfx_timer_init(&pwm_modes_timer, &timer_config, pwm_modes_timer_event_handler);
    if (err != NRFX_SUCCESS) {
        LOG_ERR("nrfx_timer_init error: %08x", err);
        return 0;
    }
        IRQ_DIRECT_CONNECT(TIMER21_IRQn, 0, nrfx_timer_21_irq_handler, 0);
        irq_enable(TIMER21_IRQn);

        return 0;
}
// Initialise the EMS PWM channels
int ems_pwm_init() {
    int ret = 0;

    chan0_gpio_init();

    ret = chan1_pwm_init();
    if (ret) {
        return ret;
    }

    update_power_signal_count();

    ret = chan23_pwm_init();
    if (ret) {
        return ret;
    }

    ret = pwm_modes_timer_init();
    if (ret) {
        return ret;
    } 

    return 0;
}

void chan23reset(){

   chan23_pwm_init();
}

void SleepMode(){

    LOG_INF("EMS enabled with relax part 1");

    ems_intensity_data.PWM_PERIOD = 64;
    ems_intensity_data.PWM_ON_TIME = 5;
    ems_intensity_data.PWM_INTERVAL = 10;
    ems_intensity_data.PWM_DURATION = 5;
    ems_intensity_data.CHAN0_PLAYBACK = 60;
    ems_intensity_data.CHAN0_INDUCTOR = 3;
    ems_intensity_data.PWM23_DURATION = 1000;
    ems_intensity_data.PWM23_ON_DURATION = 900;
    ems_intensity_data.CHAN0_DURATION = 2;
    ems_intensity_data.CHAN0_ON_DURATION = 20;
    chan0_para_update();
    chan23reset();
}

void RelaxMode(){

    LOG_INF("EMS enabled with sleep part 1");

    ems_intensity_data.PWM_PERIOD = 64;
    ems_intensity_data.PWM_ON_TIME = 5;
    ems_intensity_data.PWM_INTERVAL = 5;
    ems_intensity_data.PWM_DURATION = 5;
    ems_intensity_data.CHAN0_PLAYBACK = 10;
    ems_intensity_data.CHAN0_INDUCTOR = 3;
    ems_intensity_data.PWM23_DURATION = 1000;
    ems_intensity_data.PWM23_ON_DURATION = 900;
    ems_intensity_data.CHAN0_DURATION = 2;
    ems_intensity_data.CHAN0_ON_DURATION = 20;
    chan0_para_update();
    chan23reset();

}

void BreathMode(){

    LOG_INF("EMS enabled with sleep part 1");

    ems_intensity_data.PWM_PERIOD = 64;
    ems_intensity_data.PWM_ON_TIME = 5;
    ems_intensity_data.PWM_INTERVAL = 5;
    ems_intensity_data.PWM_DURATION = 5;
    ems_intensity_data.CHAN0_PLAYBACK = 10;
    ems_intensity_data.CHAN0_INDUCTOR = 3;
    ems_intensity_data.PWM23_DURATION = 1000;
    ems_intensity_data.PWM23_ON_DURATION = 900;
    ems_intensity_data.CHAN0_DURATION = 6;
    ems_intensity_data.CHAN0_ON_DURATION = 120;
    chan0_para_update();
    chan23reset();

}

// Function called to start and stop the EMS session
void ems_pwm_toggle(int state) {
    if (state != 0 && !is_pwm_modes_enabled) {
        is_pwm_modes_enabled = true;
      //int ret = ems_pwm_generate_simultaneous_spikes_chan23();
    //    for(int i =0; i<100000;i++){
    //     active_stimulating_chan =2;
    //    int err44 =  chan23_toggle();
    //     k_msleep(1);
    //     active_stimulating_chan =3;
    //    err44 =  chan23_toggle();
    //    k_msleep(1);
    //    }
      
        //ems_pwm_generate_spikes_chan23(3);
if (!nrfx_timer_is_enabled(&pwm_modes_timer)) {
    nrfx_timer_extended_compare(&pwm_modes_timer, NRF_TIMER_CC_CHANNEL0, 500, NRF_TIMER_SHORT_COMPARE0_CLEAR_MASK, true); // Enable interrupt!
    nrfx_timer_enable(&pwm_modes_timer);
    LOG_INF("PWM modes enabled");
}

       
    } else if (is_pwm_modes_enabled && state == 0) {
        is_pwm_modes_enabled = false;
        battery_update_ready = true;
        // Timer will be turned off in the timer callback. This is to allow the current power signal to complete
        LOG_INF("PWM modes disabled");
        nrf_gpio_pin_set(CHAN0_GPIO_PIN);
        // Trigger single playback on CHAN2
        //ems_pwm_single_playback_chan23(2);

         // Trigger single playback on CHAN3
        //ems_pwm_single_playback_chan23(3);
    }
}

// Update the PWM parameters for the EMS
int ems_pwm_update_params(uint8_t chan_number, uint64_t on_time_ns, uint64_t duration_ns, uint64_t interval_ns) {
    if (k_mutex_lock(&update_mut, K_MSEC(100))) {
        return -ETIMEDOUT;
    }

    switch (chan_number) {
        case 0: {
            memcpy(&update_buf[0], &chan0_spec, sizeof(chan0_spec));
            struct pwm_mode_chan_spec *temp = &update_buf[0];
            temp->active_duration_ns = (duration_ns > 0) ? duration_ns : temp->active_duration_ns;

            if (on_time_ns > 0) {
                temp->interval_ns = on_time_ns;
            } else if (interval_ns > 0) {
                temp->interval_ns = interval_ns;
            }

            chan_param_update_available |= (1 << 0);
            LOG_DBG("Chan 0 update, on_time %llu, interval %llu", temp->active_duration_ns, temp->interval_ns);
            break;
        }
        case 1: {
            memcpy(&update_buf[1], &chan1_spec, sizeof(chan1_spec));
            struct pwm_mode_chan_spec *temp = &update_buf[1];

            if (on_time_ns >= PWM_USEC(ems_intensity_data.PWM_PERIOD) || (interval_ns + duration_ns) > chan0_spec.active_duration_ns) {
                LOG_ERR("Parameters out of range");
                break;
            }

            temp->pwm_on_time_ns = (on_time_ns > 0) ? on_time_ns : temp->active_duration_ns;
            temp->interval_ns = (interval_ns > 0) ? interval_ns : temp->interval_ns;
            temp->active_duration_ns = (duration_ns > 0) ? duration_ns : temp->active_duration_ns;

            chan_param_update_available |= (1 << 1);
            LOG_DBG("Chan 1 update, on_time %llu, interval %llu", temp->active_duration_ns, temp->interval_ns);
            break;
        }
        case 2: {
            memcpy(&update_buf[2], &chan2_spec, sizeof(chan2_spec));
            struct pwm_mode_chan_spec *temp = &update_buf[2];

            if (on_time_ns > PWM_USEC(ems_intensity_data.PWM23_DURATION)) {
                LOG_ERR("Parameter out of range");
                break;
            }

            temp->pwm_on_time_ns = (uint64_t)(((float)on_time_ns * PWM_USEC(ems_intensity_data.PWM23_DURATION)) / 100.0f);
            chan_param_update_available |= (1 << 2);
            break;
        }
        case 3: {
            memcpy(&update_buf[3], &chan3_spec, sizeof(chan3_spec));
            struct pwm_mode_chan_spec *temp = &update_buf[3];

            if (on_time_ns > PWM_USEC(ems_intensity_data.PWM23_DURATION)) {
                LOG_ERR("Parameter out of range");
                break;
            }

            temp->pwm_on_time_ns = (uint64_t)(((float)on_time_ns * PWM_USEC(ems_intensity_data.PWM23_DURATION)) / 100.0f);
            chan_param_update_available |= (1 << 3);
            break;
        }
        default: {
            break;
        }
    }
    k_mutex_unlock(&update_mut);
    return 0;
}
```

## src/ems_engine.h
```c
#ifndef EMS_PWM_H
#define EMS_PWM_H

#include <stdint.h>
#include <stdbool.h>
/**
 * @brief Initialise EMS timers and PWM params to default
 * 
 * @return 0 on success
 */
int ems_pwm_init();

/**
 * @brief toggle EMS on/off
 * 
 * @param state 0 for off, 1 for off
 */
void ems_pwm_toggle(int state);

/**
 * @brief update pwm parameters for the ems
 * 
 * @param chan_number channel number (0 and 1 supported)
 * @param on_time_ns on time in nanoseconds
 * @param duration_ns total duration of the PWM signal
 * @param interval_ns time between consecutive PWM signals
 * @return 0 in success
 */
int ems_pwm_update_params(uint8_t chan_number, uint64_t on_time_ns, uint64_t duration_ns, uint64_t interval_ns);

/**
 * @brief update duty cycle of the power signal(CHAN2)
 * 
 * @param duty_cycle duty cycle in percentage(0-100)
 */

void chan0_para_update();

void chan23update();

void chan23reset();

void RelaxMode();

void SleepMode();

void BreathMode();

// Structure to store the EMS intensity data
typedef struct {
    long PWM_PERIOD;
    long PWM_ON_TIME;
    long PWM_INTERVAL;
    long PWM_DURATION;
    long CHAN0_PLAYBACK;
    long CHAN0_INDUCTOR;
    long PWM23_DURATION;
    long PWM23_ON_DURATION;
    long CHAN0_DURATION;
    long CHAN0_ON_DURATION;
    
} ems_values;

extern ems_values ems_intensity_data; // Declare a global instance
extern uint64_t CHAN23_PWM_DEFAULT_PERIOD_NS ;
extern uint64_t CHAN23_PWM_DEFAULT_ON_TIME_NS ;
extern bool is_pwm_modes_enabled;
extern bool battery_update_ready;

#endif
```

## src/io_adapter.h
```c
#ifndef APP_IO_H
#define APP_IO_H

#include <stdint.h>
#include <stdbool.h>

#define BTN_PRESSED     1
#define BTN_RELEASED    0


extern  int32_t initial_value;
extern  int32_t current_value;

extern int32_t batt_val_mv;

extern uint16_t raw_batt_val ;

extern uint8_t charger_state;

extern uint8_t battery_low;

void start_blue_led_thread(uint32_t period);

void stop_blue_led_thread(void);

void stop_red_led_thread(void);

void start_red_led_thread(void);

void start_green_led_thread(uint32_t period);

void stop_green_led_thread(void);
/**
 * @brief Power off, write p0.31 to 0
 * 
 */
#endif
```

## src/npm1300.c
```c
/*
 * Copyright (c) 2023 Nordic Semiconductor ASA
 * SPDX-License-Identifier: LicenseRef-Nordic-5-Clause
 */

#include <stdlib.h>

#include <zephyr/kernel.h>
#include <zephyr/device.h>
#include <zephyr/drivers/gpio.h>
#include <zephyr/drivers/mfd/npm1300.h>
#include <zephyr/drivers/sensor.h>
#include <zephyr/sys/printk.h>
#include <zephyr/pm/device.h>
#include <zephyr/sys/poweroff.h>
#include <zephyr/drivers/hwinfo.h>
#include <zephyr/logging/log.h>

#include "fuel_gauge.h"

// Forward declaration for prepare_for_sleep from bluetooth_manager
extern void prepare_for_sleep(void);

LOG_MODULE_REGISTER(NPM1300, LOG_LEVEL_DBG);

#define SLEEP_TIME_MS 30000
#define VBUS_SLEEP_CHECK_MS 5000  // 5 seconds to check if VBUS stays connected
#define POLL_INTERVAL_MS 100      // Polling interval

static const struct device *pmic = DEVICE_DT_GET(DT_NODELABEL(npm1300_ek_pmic));
static const struct device *charger = DEVICE_DT_GET(DT_NODELABEL(npm1300_ek_charger));
static const struct device *cons = DEVICE_DT_GET(DT_CHOSEN(zephyr_console));

// Sleep/wakeup state variables
static volatile bool vbus_connected;
static volatile bool system_in_sleep = false;
static volatile bool wakeup_requested = false;

// Semaphore for wakeup
K_SEM_DEFINE(vbus_wakeup_sem, 0, 1);

// GPIO spec for PMIC host interrupt pin (from devicetree)
// This is the pin that the PMIC uses to signal events (GPIO1 pin 6)
static const struct gpio_dt_spec pmic_int_gpio = GPIO_DT_SPEC_GET(DT_NODELABEL(npm1300_ek_pmic), host_int_gpios);

// Timer for sleep monitoring
static struct k_timer sleep_monitor_timer;

// Forward declaration of timer expiry function
static void sleep_monitor_timer_expiry(struct k_timer *timer_id);

// Timer expiry callback - called after 5 seconds of VBUS being HIGH
static void sleep_monitor_timer_expiry(struct k_timer *timer_id)
{
	// Check if VBUS is still connected when timer expires
	if (vbus_connected && !system_in_sleep) {
		LOG_INF("Timer expired: VBUS still HIGH for 5 seconds, entering sleep mode");

		// Prepare for sleep
		prepare_for_sleep();

		// Configure PMIC host interrupt GPIO for wakeup on HIGH level
		if (gpio_is_ready_dt(&pmic_int_gpio)) {
			gpio_pin_interrupt_configure_dt(&pmic_int_gpio, GPIO_INT_LEVEL_HIGH);
			LOG_INF("PMIC interrupt GPIO configured for wakeup (level HIGH on P1.06)");
		} else {
			LOG_ERR("PMIC interrupt GPIO not ready for wakeup config!");
		}

		// Set sleep flag
		system_in_sleep = true;
		wakeup_requested = false;

		LOG_INF("System entering sleep mode, will wake on PMIC interrupt (VBUS detect)");

		// Suspend console before sleep
		int rc = pm_device_action_run(cons, PM_DEVICE_ACTION_SUSPEND);
		if (rc < 0) {
			LOG_ERR("Could not suspend console (%d)", rc);
		}

		// Clear reset cause and enter power-off (deep sleep)
		hwinfo_clear_reset_cause();
		sys_poweroff();
	} else if (!vbus_connected) {
		LOG_INF("Timer expired: VBUS went LOW, sleep cancelled");
	}
}

// PMIC interrupt GPIO callback - used for wakeup from sleep
static void pmic_int_wakeup_handler(const struct device *dev, struct gpio_callback *cb, uint32_t pins)
{
	if (system_in_sleep) {
		LOG_INF("System wakeup triggered by PMIC interrupt");
		wakeup_requested = true;
		k_sem_give(&vbus_wakeup_sem);
	}
}

static void event_callback(const struct device *dev, struct gpio_callback *cb, uint32_t pins)
{
	if (pins & BIT(NPM1300_EVENT_VBUS_DETECTED)) {
		printk("Vbus connected\n");
		vbus_connected = true;

		// If system is in sleep, trigger wakeup
		if (system_in_sleep) {
			LOG_INF("Wakeup requested - VBUS detected");
			wakeup_requested = true;
			k_sem_give(&vbus_wakeup_sem);
			return;
		}

		// Start 5-second timer to monitor VBUS
		LOG_INF("VBUS detected, starting %d second timer", VBUS_SLEEP_CHECK_MS / 1000);
		k_timer_start(&sleep_monitor_timer, K_MSEC(VBUS_SLEEP_CHECK_MS), K_NO_WAIT);
	}

	if (pins & BIT(NPM1300_EVENT_VBUS_REMOVED)) {
		printk("Vbus removed\n");
		vbus_connected = false;

		// Stop the timer if VBUS goes LOW
		k_timer_stop(&sleep_monitor_timer);
		LOG_INF("VBUS removed, timer stopped - sleep cancelled");
	}
}

static void npm1300_thread_main1(void)
{
	int err;
	bool pmic_available = false;
	bool charger_available = false;
	bool fuel_gauge_available = false;

	if (!device_is_ready(pmic)) {
		LOG_ERR("PMIC device not ready - continuing without PMIC functionality");
		pmic_available = false;
	} else {
		LOG_INF("PMIC device ready");
		pmic_available = true;
	}

	if (!device_is_ready(charger)) {
		LOG_ERR("Charger device not ready - continuing without charger functionality");
		charger_available = false;
	} else {
		LOG_INF("Charger device ready");
		charger_available = true;
	}

	if (!charger_available || fuel_gauge_init(charger) < 0) {
		LOG_ERR("Could not initialise fuel gauge - continuing without fuel gauge");
		fuel_gauge_available = false;
	} else {
		LOG_INF("Fuel gauge initialized successfully");
		fuel_gauge_available = true;
	}

	// Initialize the sleep monitor timer
	k_timer_init(&sleep_monitor_timer, sleep_monitor_timer_expiry, NULL);
	LOG_INF("Sleep monitor timer initialized");

	// Initialize PMIC host interrupt GPIO for wakeup (GPIO1 pin 6)
	if (pmic_available && gpio_is_ready_dt(&pmic_int_gpio)) {
		err = gpio_pin_configure_dt(&pmic_int_gpio, GPIO_INPUT);
		if (err < 0) {
			LOG_ERR("PMIC interrupt GPIO config failed: %d - continuing anyway", err);
		} else {
			LOG_INF("PMIC interrupt GPIO configured (P1.06)");

			// Initialize the wakeup callback for PMIC interrupt pin
			static struct gpio_callback pmic_int_wakeup_cb;
			gpio_init_callback(&pmic_int_wakeup_cb, pmic_int_wakeup_handler,
					   BIT(pmic_int_gpio.pin));
			gpio_add_callback(pmic_int_gpio.port, &pmic_int_wakeup_cb);

			// Disable interrupt initially (will be enabled before sleep)
			gpio_pin_interrupt_configure_dt(&pmic_int_gpio, GPIO_INT_DISABLE);
			LOG_INF("PMIC interrupt wakeup callback registered");
		}
	} else {
		LOG_ERR("PMIC interrupt GPIO not ready - sleep/wake functionality disabled");
	}

	if (pmic_available) {
		static struct gpio_callback event_cb;

		gpio_init_callback(&event_cb, event_callback,
				   BIT(NPM1300_EVENT_VBUS_DETECTED) |
				   BIT(NPM1300_EVENT_VBUS_REMOVED));

		err = mfd_npm1300_add_callback(pmic, &event_cb);
		if (err) {
			LOG_ERR("Failed to add pmic callback - VBUS detection disabled");
		} else {
			LOG_INF("PMIC event callback registered successfully");
		}
	}

	/* Initialise vbus detection status. */
	if (charger_available) {
		struct sensor_value val;
		int ret = sensor_attr_get(charger, SENSOR_CHAN_CURRENT, SENSOR_ATTR_UPPER_THRESH, &val);

		if (ret < 0) {
			LOG_ERR("Could not get VBUS status - assuming disconnected");
			vbus_connected = false;
		} else {
			vbus_connected = (val.val1 != 0) || (val.val2 != 0);
			LOG_INF("Initial VBUS status: %s", vbus_connected ? "connected" : "disconnected");
		}
	} else {
		LOG_INF("Charger not available - VBUS detection disabled");
		vbus_connected = false;
	}

	LOG_INF("NPM1300 initialization complete (PMIC: %s, Charger: %s, Fuel Gauge: %s)",
		pmic_available ? "OK" : "FAILED",
		charger_available ? "OK" : "FAILED",
		fuel_gauge_available ? "OK" : "FAILED");

	// Main loop - just update fuel gauge periodically
	// Sleep logic is now handled in event_callback when VBUS is detected
	while (1) {
		if (fuel_gauge_available) {
			fuel_gauge_update(charger, vbus_connected);
		}
		k_msleep(SLEEP_TIME_MS);
	}
}

K_THREAD_DEFINE(npm_thread1, 2048, npm1300_thread_main1, NULL, NULL, NULL, 4, 0, 0);
```

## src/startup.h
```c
#ifndef MAIN_H
#define MAIN_H

#include <zephyr/kernel.h>

#include "core_types.h"
#include "bluetooth_manager.h"

#define MAIN_MSG_DATA_SRC_MOTION_DETECTOR       1
#define MAIN_MSG_DATA_SRC_BLE                   2

/**
 * @brief data structure for main message queue
 * 
 */
/* struct to store the ble ems data and acces it in main */
//extern K_THREAD_STACK_DEFINE(led_stack_area, 512);
struct main_msg_data{
    int src;
    union{
        struct ble_msg ble;
    }data;
};

#endif
```
